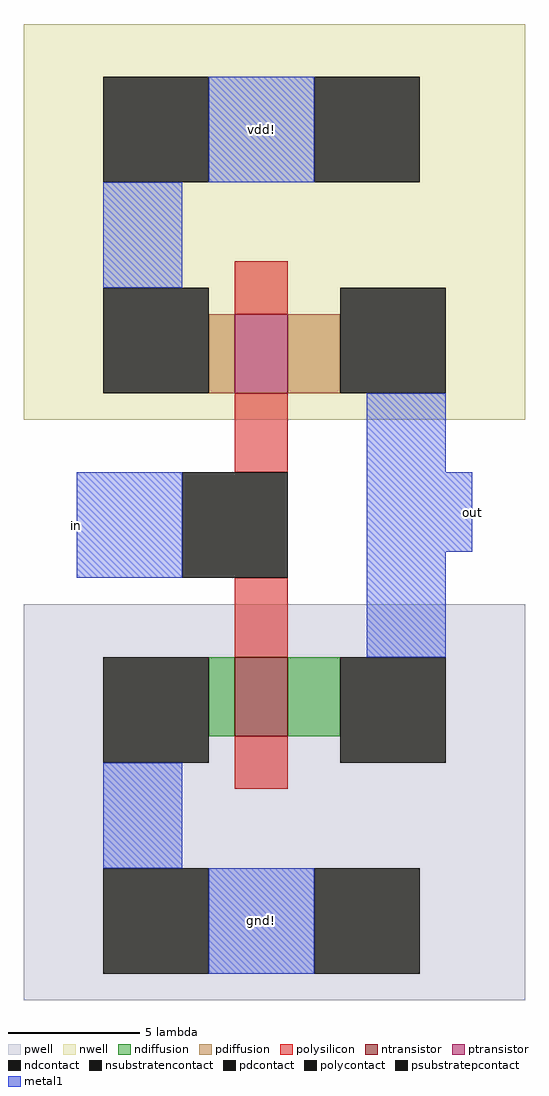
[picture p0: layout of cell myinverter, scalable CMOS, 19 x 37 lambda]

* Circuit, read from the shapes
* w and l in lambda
.subckt myinverter gnd! in out vdd!
M1 out in gnd! gnd! nfet w=3 l=2
M2 out in vdd! vdd! pfet w=3 l=2
.ends

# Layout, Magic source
magic
tech scmos
<< pwell >>
rect -8 -10 11 5
<< nwell >>
rect -8 12 11 27
<< polysilicon >>
rect 0 16 2 18
rect 0 10 2 13
rect 0 3 2 6
rect 0 -2 2 0
<< ndiffusion >>
rect -1 0 0 3
rect 2 0 4 3
<< pdiffusion >>
rect -1 13 0 16
rect 2 13 4 16
<< metal1 >>
rect -1 21 3 25
rect -5 17 -2 21
rect 5 10 8 13
rect -6 6 -2 10
rect 5 7 9 10
rect 5 3 8 7
rect -5 -5 -2 -1
rect -1 -9 3 -5
<< ntransistor >>
rect 0 0 2 3
<< ptransistor >>
rect 0 13 2 16
<< polycontact >>
rect -2 6 2 10
<< ndcontact >>
rect -5 -1 -1 3
rect 4 -1 8 3
<< pdcontact >>
rect -5 13 -1 17
rect 4 13 8 17
<< psubstratepcontact >>
rect -5 -9 -1 -5
rect 3 -9 7 -5
<< nsubstratencontact >>
rect -5 21 -1 25
rect 3 21 7 25
<< labels >>
rlabel metal1 1 23 1 23 5 vdd!
rlabel metal1 1 -7 1 -7 1 gnd!
rlabel metal1 -6 6 -6 10 3 in
rlabel metal1 9 7 9 10 7 out
<< end >>
